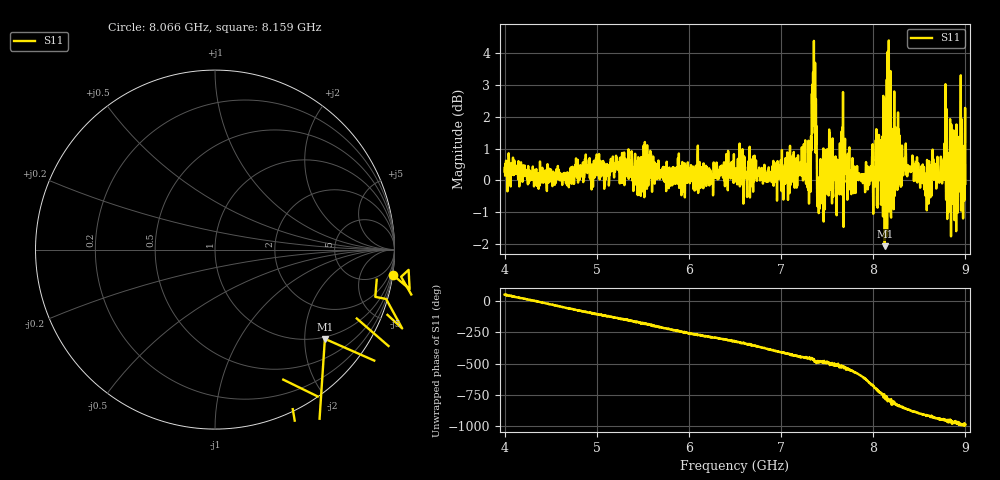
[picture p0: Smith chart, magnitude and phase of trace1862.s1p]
! Created with skrf 1.8.0 (http://scikit-rf.org).
# Hz S RI R 50.0
!freq ReS11 ImS11
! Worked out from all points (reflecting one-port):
!   1601 points, 4 GHz to 9 GHz, reference 50 ohm
!   lowest |S11| = -2.1 dB at 8.125 GHz (marker M1), VSWR 8.47, Z = 47.5 - j125 ohm
!   phase of S11 starts at 52 deg and turns -1038 deg over the sweep
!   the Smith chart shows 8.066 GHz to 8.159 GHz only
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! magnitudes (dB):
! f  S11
! 4 GHz  0.3
! 4.625 GHz  -0.1
! 5.25 GHz  -0.1
! 5.875 GHz  0.3
! 6.5 GHz  0.4
! 7.125 GHz  0.6
! 7.297 GHz  1.2
! 7.359 GHz  1.7
! 7.4 GHz  0.1
! 7.416 GHz  -0.9
! 7.512 GHz  0.9
! 7.609 GHz  0.6
! 7.669 GHz  1.3
! 7.703 GHz  0.3
! 7.75 GHz  0.1
! 8.022 GHz  0.4
! 8.125 GHz  -2.1
! 8.162 GHz  1.6
! 8.216 GHz  1.6
! 8.253 GHz  1.3
! 8.375 GHz  0.5
! 8.578 GHz  0.0
! 8.659 GHz  0.0
! 8.725 GHz  0.1
! 8.775 GHz  1.2
! 8.906 GHz  0.5
! 8.947 GHz  1.1
! 9 GHz  -0.1
